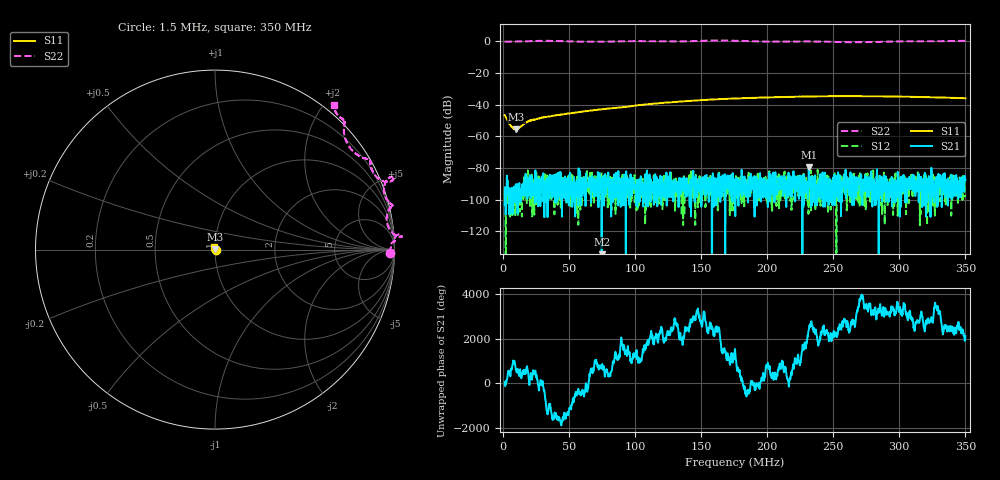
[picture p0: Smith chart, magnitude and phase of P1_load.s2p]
# Hz S RI R 50
! RAW DATA - UNCALIBRATED
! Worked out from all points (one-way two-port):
!   1601 points, 1.5 MHz to 350 MHz, reference 50 ohm
!   highest |S21| = -79.59 dB at 231.5 MHz (marker M1); lowest = -186.2 dB at 74.9 MHz (marker M2)
!   lowest |S11| = -55.5 dB at 10.43 MHz (marker M3), VSWR 1.00, Z = 49.9 + j0.124 ohm
!   |S11| at or under -10 dB: start of sweep to end of sweep
!   |S22| runs from -0.5 to 0.6 dB; largest |S21 - S12| = 0.00012
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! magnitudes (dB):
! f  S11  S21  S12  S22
! 1.5 MHz  -46.7  -103.4  -97.0  -0.2
! 2.589 MHz  -48.0  -96.1  -92.6  -0.2
! 5.203 MHz  -52.1  -95.1  -94.7  -0.2
! 6.728 MHz  -53.8  -103.0  -98.6  -0.2
! 8.688 MHz  -55.2  -91.7  -94.9  -0.1
! 10.43 MHz  -55.5  -94.2  -104.6  0.0
! 12.39 MHz  -54.7  -99.3  -100.1  0.0
! 17.84 MHz  -51.3  -85.2  -91.8  0.1
! 21.76 MHz  -49.9  -88.1  -87.4  0.1
! 31.56 MHz  -47.8  -111.1  -100.4  0.4
! 59.66 MHz  -44.5  -95.9  -99.8  -0.2
! 74.9 MHz  -42.9  -186.2  -90.0  -0.2
! 98.86 MHz  -40.7  -90.1  -91.1  0.2
! 117.8 MHz  -39.1  -94.1  -90.5  0.0
! 149.2 MHz  -37.2  -88.0  -98.8  0.3
! 175.8 MHz  -36.1  -98.4  -109.8  0.5
! 202.8 MHz  -35.3  -90.4  -92.0  -0.2
! 231.5 MHz  -34.8  -79.6  -104.8  0.0
! 233.9 MHz  -34.8  -103.5  -100.3  0.0
! 266.4 MHz  -34.6  -94.4  -93.7  -0.5
! 292.1 MHz  -34.8  -101.3  -89.7  -0.1
! 350 MHz  -36.0  -87.4  -97.0  0.4
